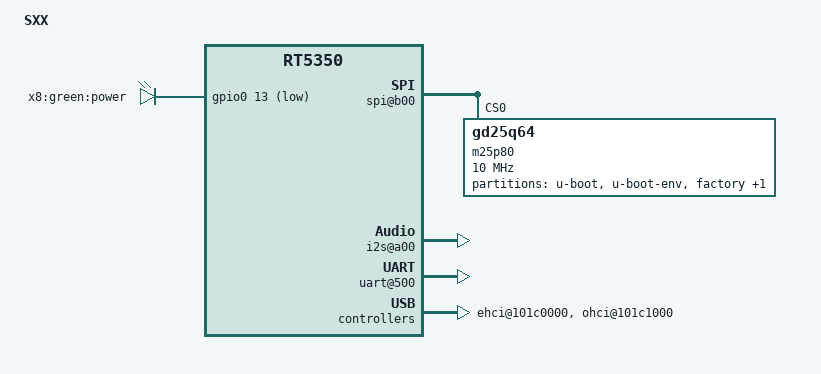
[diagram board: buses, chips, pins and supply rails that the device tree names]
/dts-v1/;

/include/ "rt5350.dtsi"

/ {
	compatible = "SXX", "ralink,rt5350-soc";
	model = "SXX";

	chosen {
		bootargs = "console=ttyS1,115200";
	};
	
	palmbus@10000000 {
		spi@b00 {
			status = "okay";
			m25p80@0 {
				#address-cells = <1>;
				#size-cells = <1>;
				compatible = "gd25q64";
				reg = <0 0>;
				linux,modalias = "m25p80", "gd25q64";
				spi-max-frequency = <10000000>;

				partition@0 {
					label = "u-boot";
					reg = <0x0 0x30000>;
					read-only;
				};

				partition@30000 {
					label = "u-boot-env";
					reg = <0x30000 0x10000>;
					read-only;
				};

				factory: partition@40000 {
					label = "factory";
					reg = <0x40000 0x10000>;
					read-only;
				};

				partition@50000 {
					label = "firmware";
					reg = <0x50000 0xfb0000>;
				};
			};
		};
        
        
        i2s@a00 {
            status = "okay";
        };
        
        /*
        pcm@2000 {
            status = "okay";
        };
	*/
    
        gdma@2800 {
            status = "okay";
        };
        
        uart@500 {
            status = "okay";
        };
	};

	pinctrl {
		state_default: pinctrl0 {
			gpio {
				ralink,group = "i2c", "jtag";
				ralink,function = "gpio";
			};
            uartf {
                ralink,group = "uartf";
                ralink,function = "i2s uartf";
            };
		};
	};

	ethernet@10100000 {
		mtd-mac-address = <&factory 0x4>;
	};

	esw@10110000 {
		ralink,portmap = <0x2f>;
		ralink,led_polarity = <1>;
	};

	gpio-leds {
		compatible = "gpio-leds";
		power {
			label = "x8:green:power";
			gpios = <&gpio0 13 1>;
		};
	};

	wmac@10180000 {
		ralink,mtd-eeprom = <&factory 0>;
		ralink,led-polarity = <1>;
	};

	ehci@101c0000 {
		status = "okay";
	};

	ohci@101c1000 {
		status = "okay";
	};
    
    
    codec: es9038-hifi {
		compatible = "ralink,es9038-hifi";
	};
    
    sound {
        compatible = "ralink,rt5350-es9038";
        model = "rt5350-es9038";
        cpu-dai = <&i2s>;
        codec-dai = <&codec>;
    };
    
    /*
    codec: sxx-pcm-codec {
		compatible = "ralink,sxx-pcm-codec";
	};
    
    sound: sxx-pcm-machine {
        compatible = "ralink,sxx-pcm-machine";
        model = "sxx-pcm-machine";
        cpu-dai = <&pcm>;
        codec-dai = <&codec>;
    };*/
};
